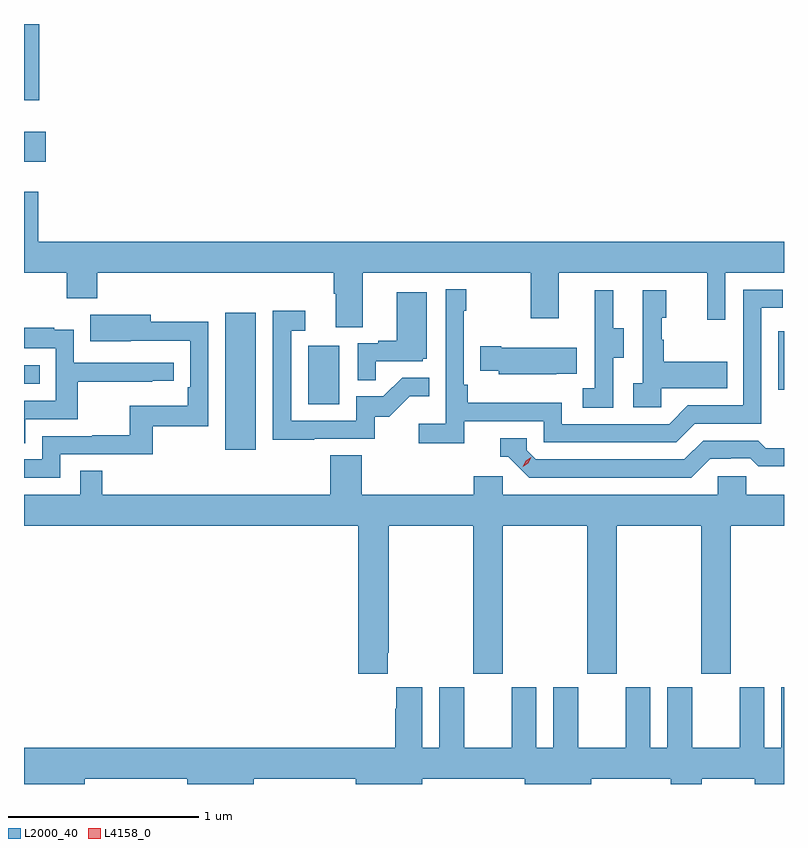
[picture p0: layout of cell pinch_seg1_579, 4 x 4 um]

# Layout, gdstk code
import gdstk
lib = gdstk.Library(unit=1e-6, precision=1e-09)
def R(c, l, rs):  # rectangles x0, y0, x1, y1
    for r in rs: c.add(gdstk.rectangle(r[:2], r[2:], *l))
def P(c, l, *ps):  # polygons
    for p in ps: c.add(gdstk.Polygon(p, *l))
L2000_40 = (2000, 40)
L4158_0 = (4158, 0)

pinch_seg1_579 = lib.new_cell('pinch_seg1_579')
R(pinch_seg1_579, L2000_40, [(1059.323,504.18,1059.484,504.901), (1059.758,504.42,1059.922,504.727), (1062.234,504.495,1062.263,504.804), (1058.263,504.528,1058.345,504.624), (1058.263,505.697,1058.377,505.855), (1058.263,506.019,1058.342,506.421)])
P(pinch_seg1_579, L2000_40, [(1060.045,505.112),(1060.93,505.112),(1060.93,504.873),(1061.077,504.873),(1061.077,505.112),(1061.858,505.112),(1061.858,504.864),(1061.955,504.864),(1061.955,505.112),(1062.263,505.112),(1062.263,505.276),(1058.339,505.276),(1058.339,505.537),(1058.263,505.537),(1058.263,505.112),(1058.488,505.112),(1058.488,504.977),(1058.648,504.977),(1058.648,505.112),(1059.893,505.112),(1059.893,505),(1059.905,505),(1059.905,504.826),(1060.045,504.826)],
  [(1060.58,504.33),(1060.998,504.33),(1060.998,504.219),(1061.695,504.219),(1061.794,504.318),(1062.144,504.318),(1062.144,504.927),(1062.257,504.927),(1062.257,505.023),(1062.048,505.023),(1062.048,504.414),(1061.757,504.414),(1061.658,504.315),(1061.094,504.315),(1061.094,504.427),(1060.598,504.427),(1060.598,504.523),(1060.578,504.523),(1060.578,504.911),(1060.591,504.911),(1060.591,505.024),(1060.482,505.024),(1060.482,504.316),(1060.341,504.316),(1060.341,504.214),(1060.58,504.214)],
  [(1061.616,504.503),(1061.963,504.503),(1061.963,504.643),(1061.629,504.643),(1061.629,504.758),(1061.619,504.758),(1061.619,504.876),(1061.644,504.876),(1061.644,505.021),(1061.52,505.021),(1061.52,504.53),(1061.469,504.53),(1061.469,504.405),(1061.616,504.405)],
  [(1061.364,504.664),(1061.419,504.664),(1061.419,504.819),(1061.365,504.819),(1061.365,505.021),(1061.267,505.021),(1061.267,504.807),(1061.268,504.807),(1061.268,504.503),(1061.205,504.503),(1061.205,504.4),(1061.364,504.4)],
  [(1060.115,504.645),(1060.362,504.645),(1060.362,504.66),(1060.384,504.66),(1060.384,505.009),(1060.226,505.009),(1060.226,504.754),(1060.127,504.754),(1060.127,504.741),(1060.02,504.741),(1060.02,504.547),(1060.115,504.547)],
  [(1059.791,504.237),(1060.11,504.237),(1060.11,504.354),(1060.186,504.354),(1060.293,504.461),(1060.397,504.461),(1060.397,504.56),(1060.253,504.56),(1060.155,504.462),(1060.011,504.462),(1060.011,504.333),(1059.669,504.333),(1059.669,504.807),(1059.742,504.807),(1059.742,504.913),(1059.573,504.913),(1059.573,504.232),(1059.791,504.232)],
  [(1058.454,504.156),(1058.941,504.156),(1058.941,504.303),(1059.234,504.303),(1059.234,504.854),(1058.929,504.854),(1058.929,504.892),(1058.611,504.892),(1058.611,504.752),(1058.825,504.752),(1058.825,504.753),(1059.138,504.753),(1059.138,504.508),(1059.125,504.508),(1059.125,504.412),(1058.82,504.412),(1058.82,504.257),(1058.623,504.257),(1058.623,504.252),(1058.358,504.252),(1058.358,504.129),(1058.263,504.129),(1058.263,504.033),(1058.454,504.033)],
  [(1058.269,504.342),(1058.546,504.342),(1058.546,504.538),(1058.939,504.538),(1058.939,504.543),(1059.052,504.543),(1059.052,504.639),(1058.526,504.639),(1058.526,504.811),(1058.423,504.811),(1058.423,504.823),(1058.263,504.823),(1058.263,504.714),(1058.43,504.714),(1058.43,504.438),(1058.263,504.438),(1058.263,504.214),(1058.269,504.214)],
  [(1061.063,504.581),(1061.171,504.581),(1061.171,504.718),(1060.774,504.718),(1060.774,504.726),(1060.663,504.726),(1060.663,504.596),(1060.761,504.596),(1060.761,504.578),(1061.063,504.578)],
  [(1061.875,504.132),(1061.982,504.132),(1061.982,504.135),(1062.085,504.135),(1062.127,504.093),(1062.263,504.093),(1062.263,504.189),(1062.166,504.189),(1062.127,504.228),(1061.838,504.228),(1061.739,504.129),(1060.956,504.129),(1060.908,504.177),(1060.908,504.24),(1060.769,504.24),(1060.769,504.144),(1060.812,504.144),(1060.923,504.033),(1061.776,504.033)],
  [(1060.177,503.113),(1060.182,503.113),(1060.182,503.78),(1060.627,503.78),(1060.627,503.001),(1060.782,503.001),(1060.782,503.78),(1061.227,503.78),(1061.227,503.001),(1061.382,503.001),(1061.382,503.78),(1061.827,503.78),(1061.827,503.001),(1061.982,503.001),(1061.982,503.78),(1062.263,503.78),(1062.263,503.944),(1062.063,503.944),(1062.063,504.042),(1061.913,504.042),(1061.913,503.944),(1060.782,503.944),(1060.782,504.042),(1060.631,504.042),(1060.631,503.944),(1060.04,503.944),(1060.04,504.152),(1059.875,504.152),(1059.875,503.944),(1058.675,503.944),(1058.675,504.071),(1058.559,504.071),(1058.559,503.944),(1058.263,503.944),(1058.263,503.78),(1060.022,503.78),(1060.022,503.001),(1060.177,503.001)],
  [(1058.584,502.448),(1059.122,502.448),(1059.122,502.421),(1059.472,502.421),(1059.472,502.448),(1060.01,502.448),(1060.01,502.421),(1060.36,502.421),(1060.36,502.448),(1060.898,502.448),(1060.898,502.421),(1061.248,502.421),(1061.248,502.448),(1061.666,502.448),(1061.666,502.421),(1061.83,502.421),(1061.83,502.448),(1062.11,502.448),(1062.11,502.421),(1062.263,502.421),(1062.263,502.93),(1062.248,502.93),(1062.248,502.612),(1062.16,502.612),(1062.16,502.93),(1062.029,502.93),(1062.029,502.612),(1061.779,502.612),(1061.779,502.93),(1061.648,502.93),(1061.648,502.612),(1061.56,502.612),(1061.56,502.93),(1061.429,502.93),(1061.429,502.612),(1061.179,502.612),(1061.179,502.93),(1061.048,502.93),(1061.048,502.612),(1060.96,502.612),(1060.96,502.93),(1060.829,502.93),(1060.829,502.612),(1060.579,502.612),(1060.579,502.93),(1060.448,502.93),(1060.448,502.612),(1060.36,502.612),(1060.36,502.93),(1060.223,502.93),(1060.223,502.817),(1060.217,502.817),(1060.217,502.612),(1058.263,502.612),(1058.263,502.421),(1058.584,502.421)])
P(pinch_seg1_579, L4158_0, [(1060.887,504.09),(1060.887,504.09),(1060.903,504.122),(1060.933,504.142),(1060.934,504.142),(1060.934,504.141),(1060.918,504.109),(1060.887,504.09)])

lib.write_gds('pinch_seg1_579.gds')
